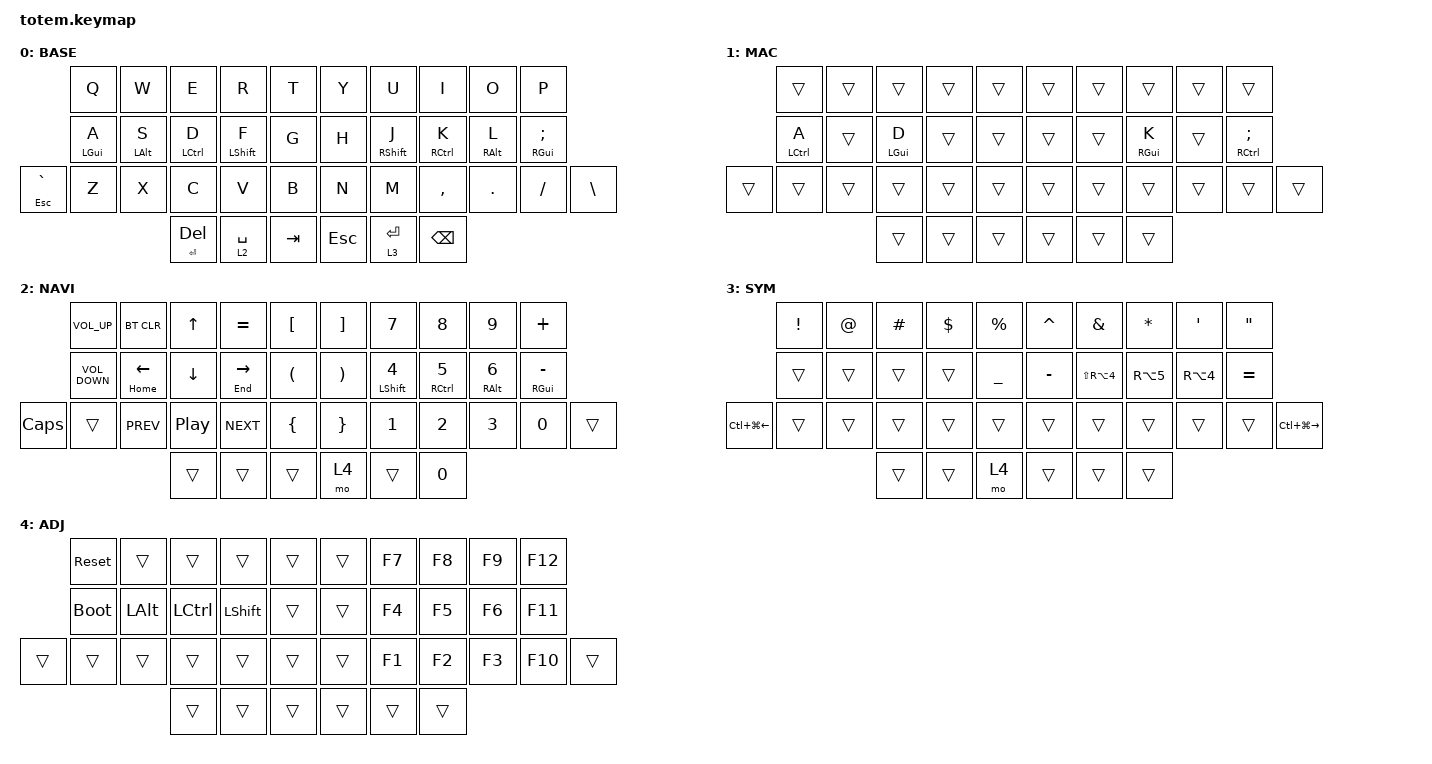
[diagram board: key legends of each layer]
#include <behaviors.dtsi>
#include <dt-bindings/zmk/bt.h>
#include <dt-bindings/zmk/keys.h>

#define BASE    0
#define NAV     1
#define SYM     2
#define ADJ     3
#define MAC     4

&mt {
    quick-tap-ms = <100>;
    global-quick-tap;
    flavor = "tap-preferred";
    tapping-term-ms = <170>;
};

/ {
    combos {
        compatible = "zmk,combos";

        combo_esc {
            timeout-ms = <50>;
            key-positions = <0 1>;
            bindings = <&kp ESC>;
        };

        To_Mac {
            bindings = <&tog 1>;
            key-positions = <20 31>;
        };
    };

    keymap {
        compatible = "zmk,keymap";

        base_layer {
            label = "BASE";
            bindings = <
               &kp Q       &kp W       &kp E             &kp R        &kp T      &kp Y    &kp U        &kp I        &kp O       &kp P
               &mt LGUI A  &mt LALT S  &mt LCTRL D       &mt LSHFT F  &kp G      &kp H    &mt RSHFT J  &mt RCTRL K  &mt RALT L  &mt RGUI SEMI
&mt ESC GRAVE  &kp Z       &kp X       &kp C             &kp V        &kp B      &kp N    &kp M        &kp COMMA    &kp DOT     &kp FSLH       &kp BSLH
                                       &mt ENTER DELETE  &lt 2 SPACE  &kp TAB    &kp ESC  &lt 3 ENTER  &kp BSPC
            >;
        };

        mac_layer {
            label = "MAC";
            bindings = <
        &trans       &trans  &trans      &trans  &trans    &trans  &trans  &trans      &trans  &trans
        &mt LCTRL A  &trans  &mt LGUI D  &trans  &trans    &trans  &trans  &mt RGUI K  &trans  &mt RCTRL SEMI
&trans  &trans       &trans  &trans      &trans  &trans    &trans  &trans  &trans      &trans  &trans          &trans
                             &trans      &trans  &trans    &trans  &trans  &trans
            >;
        };

        nav_layer {
            label = "NAVI";
            bindings = <
          &kp C_VOLUME_UP    &bt BT_CLR           &kp UP_ARROW      &kp EQUAL            &kp LEFT_BRACKET        &kp RIGHT_BRACKET      &kp NUMBER_7             &kp NUMBER_8  &kp NUMBER_9            &kp PLUS
          &kp C_VOLUME_DOWN  &mt HOME LEFT_ARROW  &kp DOWN          &mt END RIGHT_ARROW  &kp LEFT_PARENTHESIS    &kp RIGHT_PARENTHESIS  &mt LEFT_SHIFT NUMBER_4  &mt RCTRL N5  &mt RIGHT_ALT NUMBER_6  &mt RGUI MINUS
&kp CAPS  &trans             &kp C_PREV           &kp C_PLAY_PAUSE  &kp C_NEXT           &kp LEFT_BRACE          &kp RIGHT_BRACE        &kp NUMBER_1             &kp NUMBER_2  &kp NUMBER_3            &kp NUMBER_0    &trans
                                                  &trans            &trans               &trans                  &mo 4                  &trans                   &kp N0
            >;
        };

        sim_layer {
            label = "SYM";
            bindings = <
                        &kp EXCL  &kp AT  &kp HASH  &kp DLLR  &kp PRCNT         &kp CARET  &kp AMPS        &kp ASTERISK  &kp SQT     &kp DQT
                        &trans    &trans  &trans    &trans    &kp UNDERSCORE    &kp MINUS  &kp LS(RA(N4))  &kp RA(N5)    &kp RA(N4)  &kp EQUAL
&kp LC(LG(LEFT_ARROW))  &trans    &trans  &trans    &trans    &trans            &trans     &trans          &trans        &trans      &trans     &kp LC(LG(RIGHT))
                                          &trans    &trans    &mo 4             &trans     &trans          &trans
            >;
        };

        adjust_layer {
            label = "ADJ";
            bindings = <
        &sys_reset   &trans        &trans     &trans          &trans    &trans  &kp F7  &kp F8  &kp F9  &kp F12
        &bootloader  &kp LEFT_ALT  &kp LCTRL  &kp LEFT_SHIFT  &trans    &trans  &kp F4  &kp F5  &kp F6  &kp F11
&trans  &trans       &trans        &trans     &trans          &trans    &trans  &kp F1  &kp F2  &kp F3  &kp F10  &trans
                                   &trans     &trans          &trans    &trans  &trans  &trans
            >;
        };
    };
};
